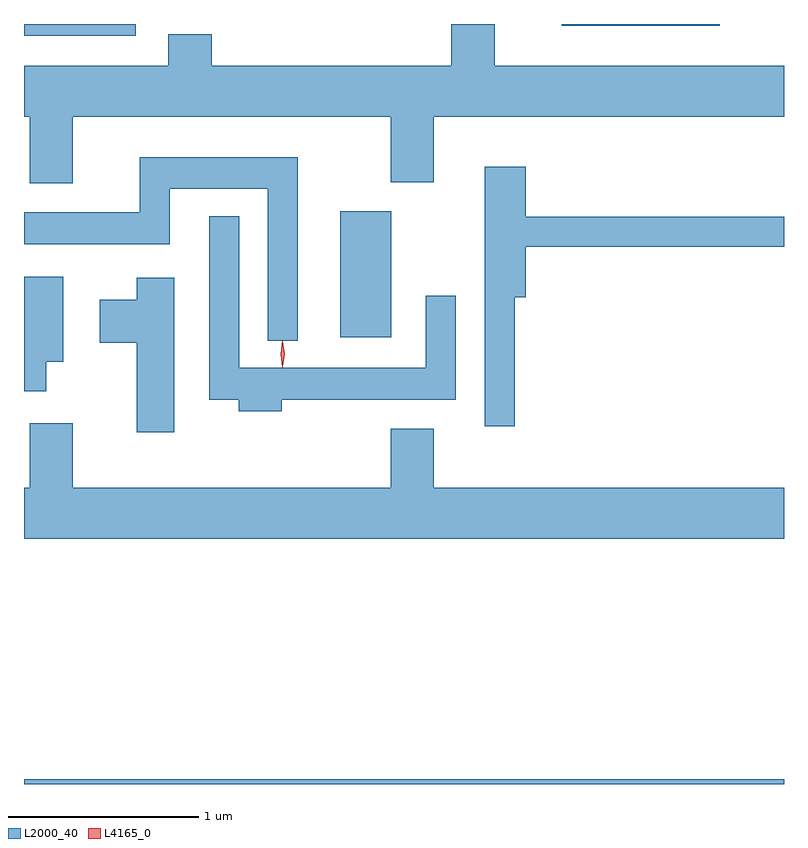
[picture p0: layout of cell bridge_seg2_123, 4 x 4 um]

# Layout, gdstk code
import gdstk
lib = gdstk.Library(unit=1e-6, precision=1e-09)
def R(c, l, rs):  # rectangles x0, y0, x1, y1
    for r in rs: c.add(gdstk.rectangle(r[:2], r[2:], *l))
def P(c, l, *ps):  # polygons
    for p in ps: c.add(gdstk.Polygon(p, *l))
L2000_40 = (2000, 40)
L4165_0 = (4165, 0)

bridge_seg2_123 = lib.new_cell('bridge_seg2_123')
R(bridge_seg2_123, L2000_40, [(1024.632,1102.524,1028.632,1102.549), (1026.296,1104.876,1026.564,1105.539), (1024.632,1106.461,1025.219,1106.524), (1027.461,1106.516,1028.294,1106.524)])
P(bridge_seg2_123, L2000_40, [(1024.889,1106.036),(1026.561,1106.036),(1026.561,1105.691),(1026.789,1105.691),(1026.789,1106.036),(1028.632,1106.036),(1028.632,1106.304),(1027.109,1106.304),(1027.109,1106.524),(1026.881,1106.524),(1026.881,1106.304),(1025.619,1106.304),(1025.619,1106.469),(1025.391,1106.469),(1025.391,1106.304),(1024.632,1106.304),(1024.632,1106.036),(1024.661,1106.036),(1024.661,1105.686),(1024.889,1105.686)],
  [(1026.074,1105.824),(1025.241,1105.824),(1025.241,1105.534),(1024.632,1105.534),(1024.632,1105.366),(1025.399,1105.366),(1025.399,1105.656),(1025.916,1105.656),(1025.916,1104.858),(1026.074,1104.858)],
  [(1027.214,1105.086),(1027.274,1105.086),(1027.274,1105.351),(1028.632,1105.351),(1028.632,1105.509),(1027.274,1105.509),(1027.274,1105.774),(1027.056,1105.774),(1027.056,1104.408),(1027.214,1104.408)],
  [(1025.989,1104.546),(1026.904,1104.546),(1026.904,1105.093),(1026.746,1105.093),(1026.746,1104.714),(1025.764,1104.714),(1025.764,1105.513),(1025.606,1105.513),(1025.606,1104.546),(1025.761,1104.546),(1025.761,1104.486),(1025.989,1104.486)],
  [(1024.749,1104.746),(1024.839,1104.746),(1024.839,1105.194),(1024.632,1105.194),(1024.632,1104.591),(1024.749,1104.591)],
  [(1025.424,1105.189),(1025.226,1105.189),(1025.226,1105.074),(1025.031,1105.074),(1025.031,1104.846),(1025.226,1104.846),(1025.226,1104.376),(1025.424,1104.376)],
  [(1028.632,1104.084),(1026.789,1104.084),(1026.789,1104.394),(1026.561,1104.394),(1026.561,1104.084),(1024.889,1104.084),(1024.889,1104.424),(1024.661,1104.424),(1024.661,1104.084),(1024.632,1104.084),(1024.632,1103.816),(1028.632,1103.816)])
P(bridge_seg2_123, L4165_0, [(1025.992,1104.717),(1025.992,1104.717),(1025.982,1104.787),(1025.992,1104.856),(1025.992,1104.856),(1025.993,1104.856),(1026.002,1104.787),(1025.993,1104.717)],
  [(1025.995,1104.719),(1025.994,1104.72),(1025.985,1104.786),(1025.994,1104.852),(1025.995,1104.853),(1025.995,1104.852),(1026.005,1104.786),(1025.995,1104.72)])

lib.write_gds('bridge_seg2_123.gds')
